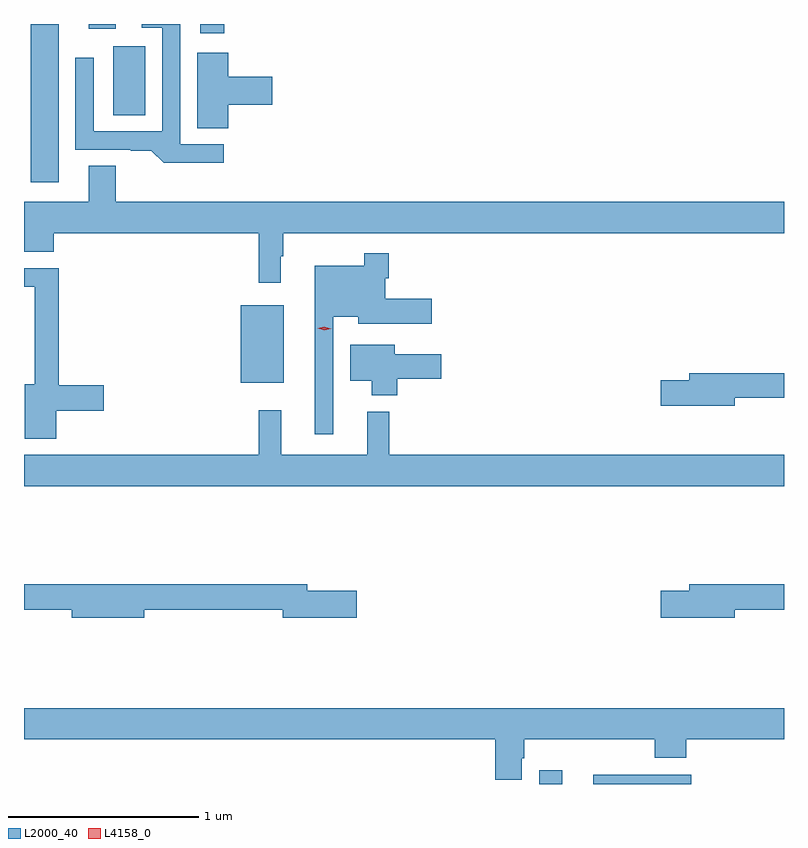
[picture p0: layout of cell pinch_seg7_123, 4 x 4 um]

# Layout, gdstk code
import gdstk
lib = gdstk.Library(unit=1e-6, precision=1e-09)
def R(c, l, rs):  # rectangles x0, y0, x1, y1
    for r in rs: c.add(gdstk.rectangle(r[:2], r[2:], *l))
def P(c, l, *ps):  # polygons
    for p in ps: c.add(gdstk.Polygon(p, *l))
L2000_40 = (2000, 40)
L4158_0 = (4158, 0)

pinch_seg7_123 = lib.new_cell('pinch_seg7_123')
R(pinch_seg7_123, L2000_40, [(916.61,1033.68,916.732,1033.753), (916.893,1033.68,917.411,1033.73), (915.038,1035.791,915.265,1036.201), (913.934,1036.848,914.08,1037.68), (914.369,1037.2,914.536,1037.563), (914.825,1037.631,914.951,1037.68), (914.24,1037.655,914.38,1037.68)])
P(pinch_seg7_123, L2000_40, [(914.95,1037.046),(914.721,1037.046),(914.721,1037.68),(914.517,1037.68),(914.517,1037.661),(914.625,1037.661),(914.625,1037.115),(914.265,1037.115),(914.265,1037.503),(914.169,1037.503),(914.169,1037.019),(914.459,1037.019),(914.459,1037.014),(914.567,1037.014),(914.633,1036.949),(914.95,1036.949)],
  [(914.972,1037.255),(915.205,1037.255),(915.205,1037.402),(914.972,1037.402),(914.972,1037.53),(914.81,1037.53),(914.81,1037.131),(914.972,1037.131)],
  [(915.25,1036.457),(915.262,1036.457),(915.262,1036.58),(917.898,1036.58),(917.898,1036.744),(914.38,1036.744),(914.38,1036.934),(914.24,1036.934),(914.24,1036.744),(913.898,1036.744),(913.898,1036.481),(914.054,1036.481),(914.054,1036.58),(915.133,1036.58),(915.133,1036.317),(915.25,1036.317)],
  [(915.525,1036.139),(915.656,1036.139),(915.656,1036.103),(916.045,1036.103),(916.045,1036.233),(915.799,1036.233),(915.799,1036.341),(915.818,1036.341),(915.818,1036.474),(915.69,1036.474),(915.69,1036.408),(915.428,1036.408),(915.428,1035.522),(915.525,1035.522)],
  [(914.068,1035.644),(914.317,1035.644),(914.317,1035.779),(914.081,1035.779),(914.081,1036.394),(913.898,1036.394),(913.898,1036.296),(913.955,1036.296),(913.955,1035.784),(913.901,1035.784),(913.901,1035.498),(914.068,1035.498)],
  [(915.863,1035.814),(916.093,1035.814),(916.093,1035.943),(915.85,1035.943),(915.85,1035.991),(915.614,1035.991),(915.614,1035.803),(915.728,1035.803),(915.728,1035.725),(915.863,1035.725)],
  [(917.638,1035.714),(917.898,1035.714),(917.898,1035.842),(917.399,1035.842),(917.399,1035.805),(917.25,1035.805),(917.25,1035.671),(917.638,1035.671)],
  [(917.898,1035.412),(915.821,1035.412),(915.821,1035.64),(915.704,1035.64),(915.704,1035.412),(915.251,1035.412),(915.251,1035.646),(915.133,1035.646),(915.133,1035.412),(913.898,1035.412),(913.898,1035.248),(917.898,1035.248)],
  [(917.638,1034.596),(917.898,1034.596),(917.898,1034.732),(917.399,1034.732),(917.399,1034.696),(917.25,1034.696),(917.25,1034.554),(917.638,1034.554)],
  [(914.53,1034.596),(915.26,1034.596),(915.26,1034.554),(915.649,1034.554),(915.649,1034.696),(915.388,1034.696),(915.388,1034.732),(913.898,1034.732),(913.898,1034.596),(914.15,1034.596),(914.15,1034.554),(914.53,1034.554)],
  [(916.519,1033.815),(916.532,1033.815),(916.532,1033.916),(917.219,1033.916),(917.219,1033.817),(917.384,1033.817),(917.384,1033.916),(917.898,1033.916),(917.898,1034.08),(913.898,1034.08),(913.898,1033.916),(916.379,1033.916),(916.379,1033.703),(916.519,1033.703)])
P(pinch_seg7_123, L4158_0, [(915.479,1036.067),(915.444,1036.078),(915.444,1036.078),(915.444,1036.079),(915.479,1036.087),(915.514,1036.076),(915.515,1036.076),(915.514,1036.076)])

lib.write_gds('pinch_seg7_123.gds')
